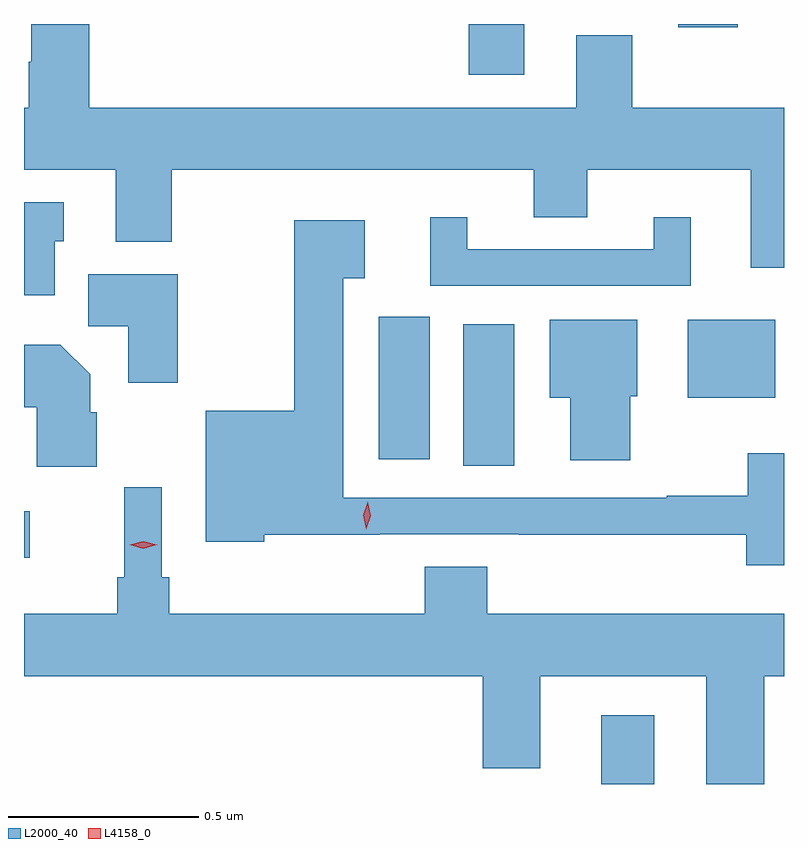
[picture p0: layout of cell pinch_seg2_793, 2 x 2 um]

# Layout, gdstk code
import gdstk
lib = gdstk.Library(unit=1e-6, precision=1e-09)
def R(c, l, rs):  # rectangles x0, y0, x1, y1
    for r in rs: c.add(gdstk.rectangle(r[:2], r[2:], *l))
def P(c, l, *ps):  # polygons
    for p in ps: c.add(gdstk.Polygon(p, *l))
L2000_40 = (2000, 40)
L4158_0 = (4158, 0)

pinch_seg2_793 = lib.new_cell('pinch_seg2_793')
R(pinch_seg2_793, L2000_40, [(660.113,642.024,660.253,642.205), (658.594,642.62,658.609,642.742), (659.75,642.862,659.884,643.234), (659.528,642.879,659.662,643.254), (660.341,643.04,660.571,643.246), (659.764,643.89,659.911,644.024), (660.316,644.016,660.472,644.024)])
P(pinch_seg2_793, L2000_40, [(660.594,643.804),(660.195,643.804),(660.195,643.994),(660.047,643.994),(660.047,643.804),(658.766,643.804),(658.766,644.024),(658.613,644.024),(658.613,643.925),(658.606,643.925),(658.606,643.804),(658.594,643.804),(658.594,643.64),(658.835,643.64),(658.835,643.451),(658.983,643.451),(658.983,643.64),(659.936,643.64),(659.936,643.516),(660.076,643.516),(660.076,643.64),(660.506,643.64),(660.506,643.383),(660.594,643.383)],
  [(658.675,643.452),(658.699,643.452),(658.699,643.555),(658.594,643.555),(658.594,643.31),(658.675,643.31)],
  [(660.349,643.516),(660.251,643.516),(660.251,643.431),(659.761,643.431),(659.761,643.516),(659.663,643.516),(659.663,643.335),(660.349,643.335)],
  [(660.594,642.895),(660.499,642.895),(660.499,642.782),(660.286,642.782),(660.286,642.777),(659.434,642.777),(659.434,643.355),(659.491,643.355),(659.491,643.507),(659.305,643.507),(659.305,643.006),(659.072,643.006),(659.072,642.662),(659.226,642.662),(659.226,642.68),(659.53,642.68),(659.53,642.681),(659.896,642.681),(659.896,642.68),(660.494,642.68),(660.494,642.6),(660.594,642.6)],
  [(658.998,643.366),(658.763,643.366),(658.763,643.228),(658.868,643.228),(658.868,643.08),(658.998,643.08)],
  [(660.19,643.044),(660.208,643.044),(660.208,643.246),(659.978,643.246),(659.978,643.04),(660.032,643.04),(660.032,642.876),(660.19,642.876)],
  [(658.786,643.002),(658.768,643.002),(658.768,643.102),(658.69,643.18),(658.594,643.18),(658.594,643.016),(658.628,643.016),(658.628,642.859),(658.786,642.859)],
  [(660.542,642.308),(660.594,642.308),(660.594,642.472),(659.813,642.472),(659.813,642.596),(659.648,642.596),(659.648,642.472),(658.976,642.472),(658.976,642.568),(658.956,642.568),(658.956,642.805),(658.858,642.805),(658.858,642.568),(658.84,642.568),(658.84,642.472),(658.594,642.472),(658.594,642.308),(659.801,642.308),(659.801,642.065),(659.953,642.065),(659.953,642.308),(660.389,642.308),(660.389,642.024),(660.542,642.024)])
P(pinch_seg2_793, L4158_0, [(659.495,642.695),(659.495,642.696),(659.487,642.731),(659.498,642.766),(659.499,642.767),(659.499,642.766),(659.507,642.73),(659.495,642.696)],
  [(658.908,642.643),(658.872,642.653),(658.871,642.653),(658.872,642.654),(658.908,642.663),(658.943,642.654),(658.944,642.653),(658.943,642.653)])

lib.write_gds('pinch_seg2_793.gds')
